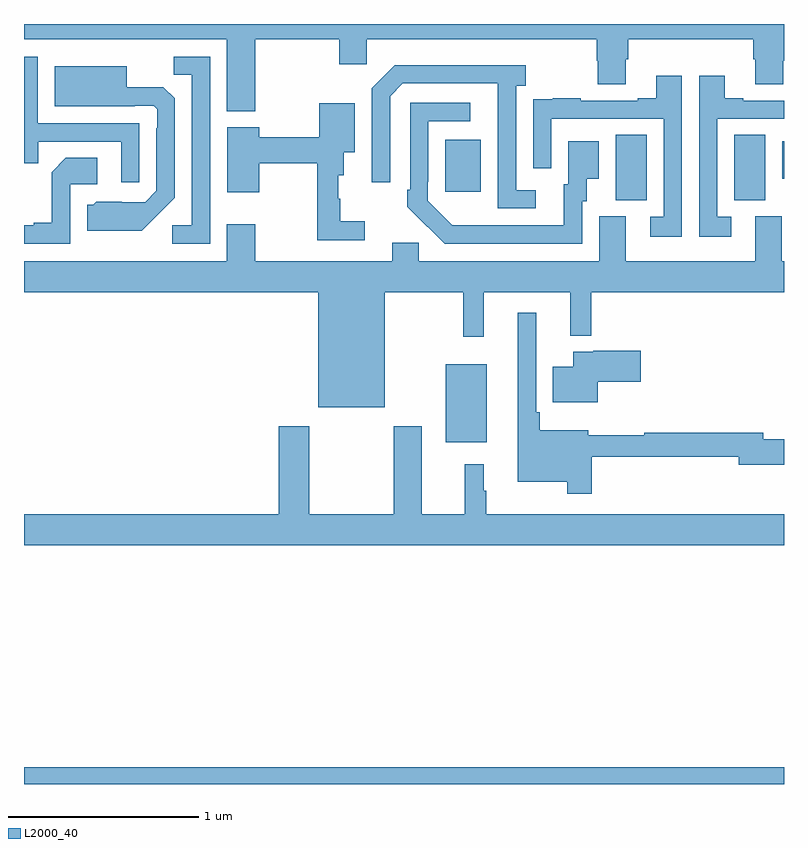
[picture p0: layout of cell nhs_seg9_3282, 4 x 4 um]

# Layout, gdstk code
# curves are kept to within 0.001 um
import gdstk
lib = gdstk.Library(unit=1e-6, precision=1e-09)
def R(c, l, rs):  # rectangles x0, y0, x1, y1
    for r in rs: c.add(gdstk.rectangle(r[:2], r[2:], *l))
def P(c, l, *ps):  # polygons
    for p in ps: c.add(gdstk.Polygon(p, *l))
L2000_40 = (2000, 40)

nhs_seg9_3282 = lib.new_cell('nhs_seg9_3282')
R(nhs_seg9_3282, L2000_40, [(299,1192.5,303,1192.588), (301.22,1194.299,301.435,1194.709), (302.114,1195.573,302.278,1195.916), (302.738,1195.573,302.902,1195.916), (301.217,1195.617,301.405,1195.891), (302.99,1195.685,303,1195.882)])
P(nhs_seg9_3282, L2000_40, [(299,1196.42),(300.068,1196.42),(300.068,1196.042),(300.216,1196.042),(300.216,1196.42),(300.658,1196.42),(300.658,1196.289),(300.804,1196.289),(300.804,1196.42),(302.015,1196.42),(302.015,1196.307),(302.02,1196.307),(302.02,1196.182),(302.167,1196.182),(302.167,1196.314),(302.18,1196.314),(302.18,1196.42),(302.837,1196.42),(302.837,1196.314),(302.849,1196.314),(302.849,1196.182),(302.997,1196.182),(302.997,1196.307),(303,1196.307),(303,1196.5),(299,1196.5)],
  [(299.607,1195.977),(299.073,1195.977),(299.073,1196.328),(299,1196.328),(299,1195.768),(299.075,1195.768),(299.075,1195.881),(299.511,1195.881),(299.511,1195.668),(299.607,1195.668)],
  [(299.979,1196.328),(299.788,1196.328),(299.788,1196.233),(299.883,1196.233),(299.883,1195.44),(299.781,1195.44),(299.781,1195.344),(299.979,1195.344)],
  [(301.693,1195.626),(301.59,1195.626),(301.59,1196.174),(301.642,1196.174),(301.642,1196.284),(300.952,1196.284),(300.831,1196.163),(300.831,1195.668),(300.927,1195.668),(300.927,1196.121),(300.993,1196.187),(301.493,1196.187),(301.494,1195.53),(301.693,1195.53)],
  [(299.701,1195.493),(299.793,1195.586),(299.793,1196.108),(299.734,1196.167),(299.542,1196.167),(299.542,1196.278),(299.162,1196.278),(299.162,1196.066),(299.582,1196.066),(299.582,1196.07),(299.682,1196.07),(299.7,1196.052),(299.7,1195.952),(299.697,1195.952),(299.697,1195.623),(299.637,1195.563),(299.38,1195.564),(299.364,1195.548),(299.333,1195.548),(299.333,1195.412),(299.621,1195.412)],
  [(302.722,1195.485),(302.649,1195.485),(302.649,1196.001),(303,1196.001),(303,1196.097),(302.785,1196.097),(302.785,1196.11),(302.689,1196.11),(302.689,1196.227),(302.553,1196.227),(302.553,1195.38),(302.722,1195.38)],
  [(302.463,1196.227),(302.327,1196.227),(302.327,1196.11),(302.231,1196.11),(302.231,1196.097),(301.931,1196.097),(301.931,1196.11),(301.783,1196.11),(301.783,1196.103),(301.681,1196.103),(301.681,1195.994),(301.68,1195.994),(301.68,1195.74),(301.776,1195.74),(301.776,1196.001),(302.367,1196.001),(302.367,1195.485),(302.295,1195.485),(302.295,1195.38),(302.463,1195.38)],
  [(301.938,1195.566),(301.963,1195.566),(301.963,1195.685),(302.026,1195.685),(302.026,1195.882),(301.865,1195.882),(301.865,1195.656),(301.841,1195.656),(301.841,1195.44),(301.254,1195.441),(301.125,1195.569),(301.125,1195.669),(301.128,1195.669),(301.128,1195.989),(301.348,1195.989),(301.348,1196.085),(301.032,1196.085),(301.032,1195.627),(301.017,1195.627),(301.017,1195.539),(301.214,1195.344),(301.938,1195.344)],
  [(300.793,1195.461),(300.664,1195.461),(300.664,1195.581),(300.653,1195.581),(300.653,1195.703),(300.682,1195.703),(300.682,1195.826),(300.742,1195.826),(300.742,1196.083),(300.554,1196.083),(300.554,1195.904),(300.238,1195.904),(300.238,1195.957),(300.071,1195.957),(300.071,1195.614),(300.238,1195.614),(300.238,1195.768),(300.543,1195.768),(300.543,1195.362),(300.793,1195.362)],
  [(299.244,1195.656),(299.386,1195.656),(299.386,1195.796),(299.221,1195.796),(299.145,1195.72),(299.145,1195.453),(299.051,1195.453),(299.051,1195.44),(299,1195.44),(299,1195.344),(299.244,1195.344)],
  [(300.898,1195.088),(301.311,1195.088),(301.311,1194.855),(301.421,1194.855),(301.421,1195.088),(301.874,1195.088),(301.874,1194.86),(301.986,1194.86),(301.986,1195.088),(303,1195.088),(303,1195.252),(302.989,1195.252),(302.989,1195.488),(302.849,1195.488),(302.849,1195.252),(302.167,1195.252),(302.167,1195.488),(302.027,1195.488),(302.027,1195.252),(301.077,1195.252),(301.077,1195.35),(300.938,1195.35),(300.938,1195.252),(300.216,1195.252),(300.216,1195.447),(300.068,1195.447),(300.068,1195.252),(299,1195.252),(299,1195.088),(300.548,1195.088),(300.548,1194.482),(300.898,1194.482)],
  [(301.988,1194.222),(302.762,1194.222),(302.762,1194.179),(303,1194.179),(303,1194.314),(302.89,1194.314),(302.89,1194.35),(302.265,1194.35),(302.265,1194.335),(301.969,1194.335),(301.969,1194.361),(301.715,1194.361),(301.715,1194.457),(301.695,1194.457),(301.695,1194.979),(301.598,1194.979),(301.598,1194.092),(301.86,1194.092),(301.86,1194.027),(301.988,1194.027)],
  [(302.02,1194.617),(302.245,1194.617),(302.245,1194.78),(301.996,1194.78),(301.996,1194.775),(301.892,1194.775),(301.892,1194.697),(301.784,1194.697),(301.784,1194.509),(302.02,1194.509)],
  [(303,1193.92),(301.432,1193.92),(301.432,1194.044),(301.42,1194.044),(301.42,1194.184),(301.321,1194.184),(301.321,1193.92),(301.093,1193.92),(301.093,1194.382),(300.946,1194.382),(300.946,1193.92),(300.501,1193.92),(300.501,1194.382),(300.341,1194.382),(300.341,1193.92),(299,1193.92),(299,1193.756),(303,1193.756)])

lib.write_gds('nhs_seg9_3282.gds')
